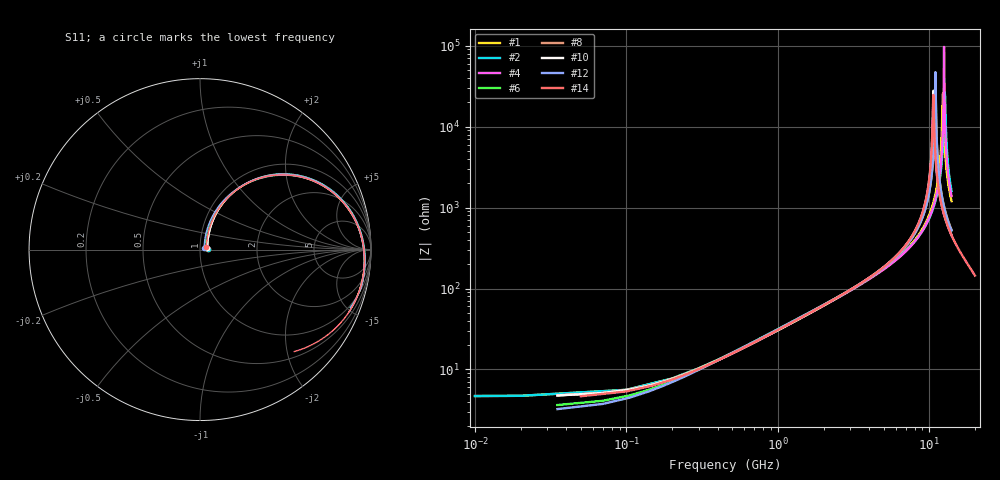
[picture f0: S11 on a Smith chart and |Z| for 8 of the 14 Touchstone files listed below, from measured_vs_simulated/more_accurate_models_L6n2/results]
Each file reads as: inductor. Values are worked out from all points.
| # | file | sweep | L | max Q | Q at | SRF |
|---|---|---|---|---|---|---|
| 1 | palace_L6n2_with_ports_2um_passi3D.s2p | 10 MHz to 14 GHz | 4.86 nH | 28.9 | 7.9 GHz | 12.2 GHz |
| 2 | palace_L6n2_with_ports_2um_passicut.s2p | 10 MHz to 14 GHz | 4.86 nH | 30.7 | 8.4 GHz | 12.6 GHz |
| 3 | run_L6n2_mergecorrection_mesh0u5.s2p | 35 MHz to 14 GHz | 4.97 nH | 60.6 | 11.03 GHz | 11.27 GHz |
| 4 | run_L6n2_mergecorrection_passicut_sweep_mesh1_limit-60.s2p | 35 MHz to 14 GHz | 4.78 nH | 48.8 | 9.94 GHz | 12.49 GHz |
| 5 | run_L6n2_mergecorrection_passicut_sweep_mesh2_limit-60.s2p | 35 MHz to 14 GHz | 4.77 nH | 51.7 | 10.19 GHz | 12.11 GHz |
| 6 | run_L6n2_mergecorrection_sweep_mesh1_limit-40.s2p | 35 MHz to 14 GHz | 4.96 nH | 30.4 | 6.615 GHz | 10.92 GHz |
| 7 | run_L6n2_mergecorrection_sweep_mesh1_limit-50.s2p | 35 MHz to 14 GHz | 4.81 nH | 29 | 7.525 GHz | 10.92 GHz |
| 8 | run_L6n2_mergecorrection_sweep_mesh1_limit-60.s2p | 35 MHz to 14 GHz | 4.79 nH | 28.8 | 7.455 GHz | 10.92 GHz |
| 9 | run_L6n2_mergecorrection_sweep_mesh2_limit-40.s2p | 35 MHz to 14 GHz | 4.91 nH | 27.7 | 6.545 GHz | 10.64 GHz |
| 10 | run_L6n2_mergecorrection_sweep_mesh2_limit-60.s2p | 35 MHz to 14 GHz | 4.77 nH | 27.3 | 7.35 GHz | 10.64 GHz |
| 11 | run_L6n2_mesh0u5_mergecorrection.s2p | 50 MHz to 20 GHz | 4.85 nH | 51.2 | 9.5 GHz | 11.25 GHz |
| 12 | run_L6n2_mesh1.s2p | 35 MHz to 14 GHz | 4.96 nH | 33.3 | 6.615 GHz | 10.92 GHz |
| 13 | run_L6n2_mesh1_mergecorrection.s2p | 50 MHz to 20 GHz | 4.85 nH | 28.2 | 8.2 GHz | 10.9 GHz |
| 14 | run_L6n2_mesh2_mergecorrection.s2p | 50 MHz to 20 GHz | 4.8 nH | 28.2 | 7.35 GHz | 10.6 GHz |
